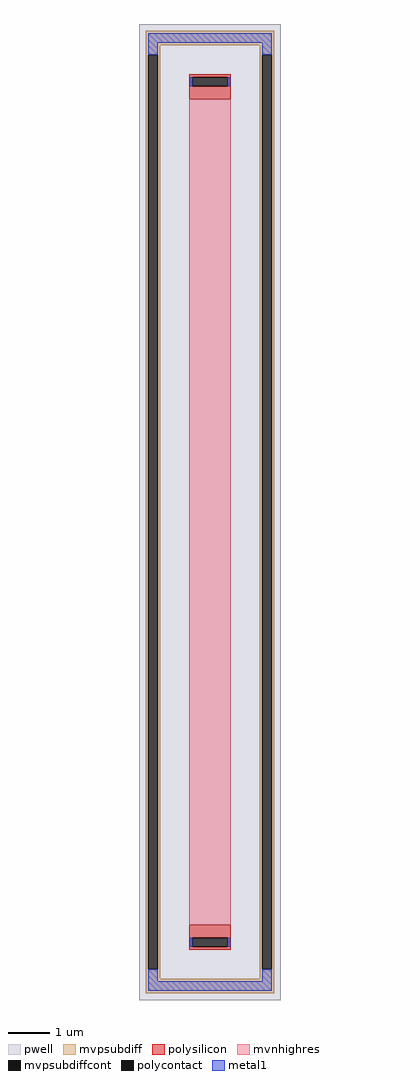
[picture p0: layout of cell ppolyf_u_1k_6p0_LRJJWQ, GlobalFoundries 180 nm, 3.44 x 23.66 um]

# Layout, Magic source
magic
tech gf180mcuD
magscale 1 10
<< pwell >>
rect -344 -2366 344 2366
<< mvpsubdiff >>
rect -312 2262 312 2334
rect -312 2218 -240 2262
rect -312 -2218 -299 2218
rect -253 -2218 -240 2218
rect 240 2218 312 2262
rect -312 -2262 -240 -2218
rect 240 -2218 253 2218
rect 299 -2218 312 2218
rect 240 -2262 312 -2218
rect -312 -2334 312 -2262
<< mvpsubdiffcont >>
rect -299 -2218 -253 2218
rect 253 -2218 299 2218
<< polysilicon >>
rect -100 2109 100 2122
rect -100 2063 -87 2109
rect 87 2063 100 2109
rect -100 2000 100 2063
rect -100 -2063 100 -2000
rect -100 -2109 -87 -2063
rect 87 -2109 100 -2063
rect -100 -2122 100 -2109
<< polycontact >>
rect -87 2063 87 2109
rect -87 -2109 87 -2063
<< mvnhighres >>
rect -100 -2000 100 2000
<< metal1 >>
rect -299 2275 299 2321
rect -299 2218 -253 2275
rect 253 2218 299 2275
rect -98 2063 -87 2109
rect 87 2063 98 2109
rect -98 -2109 -87 -2063
rect 87 -2109 98 -2063
rect -299 -2275 -253 -2218
rect 253 -2275 299 -2218
rect -299 -2321 299 -2275
<< properties >>
string FIXED_BBOX -276 -2298 276 2298
string gencell ppolyf_u_1k_6p0
string library gf180mcu
string parameters w 1.0 l 20.0 m 1 nx 1 wmin 1.000 lmin 1.000 class resistor rho 1000 val 20.0k dummy 0 dw 0.0 term 0.0 sterm 0.0 caplen 0.4 snake 0 glc 1 grc 1 gtc 0 gbc 0 roverlap 0 endcov 100 full_metal 1 compatible {ppolyf_u_1k ppolyf_u_1k_6p0}
<< end >>
